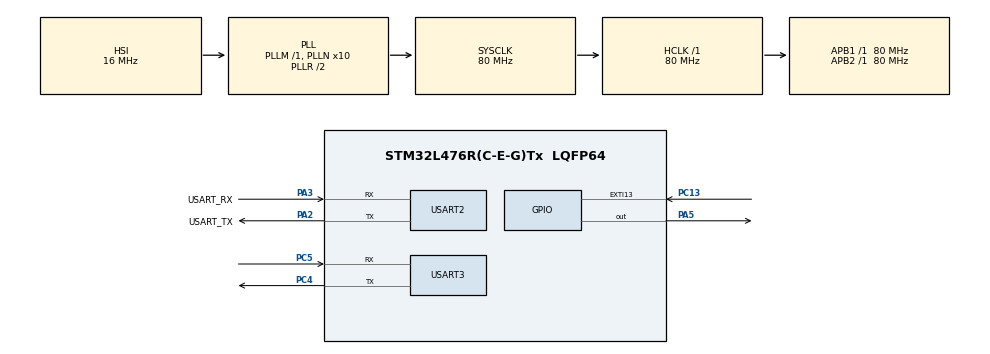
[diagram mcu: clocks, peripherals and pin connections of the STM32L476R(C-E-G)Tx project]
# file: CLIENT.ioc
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Dma.Request0=USART3_RX
Dma.Request1=USART3_TX
Dma.Request2=USART2_RX
Dma.Request3=USART2_TX
Dma.USART2_RX.2.Direction=DMA_PERIPH_TO_MEMORY
Dma.USART2_RX.2.Instance=DMA1_Channel6
Dma.USART2_RX.2.MemDataAlignment=DMA_MDATAALIGN_BYTE
Dma.USART2_RX.2.MemInc=DMA_MINC_ENABLE
Dma.USART2_RX.2.Mode=DMA_NORMAL
Dma.USART2_RX.2.PeriphDataAlignment=DMA_PDATAALIGN_BYTE
Dma.USART2_RX.2.PeriphInc=DMA_PINC_DISABLE
Dma.USART2_RX.2.Priority=DMA_PRIORITY_LOW
Dma.USART2_TX.3.Direction=DMA_MEMORY_TO_PERIPH
Dma.USART2_TX.3.Instance=DMA1_Channel7
Dma.USART2_TX.3.MemDataAlignment=DMA_MDATAALIGN_BYTE
Dma.USART2_TX.3.MemInc=DMA_MINC_ENABLE
Dma.USART2_TX.3.Mode=DMA_NORMAL
Dma.USART2_TX.3.PeriphDataAlignment=DMA_PDATAALIGN_BYTE
Dma.USART2_TX.3.PeriphInc=DMA_PINC_DISABLE
Dma.USART2_TX.3.Priority=DMA_PRIORITY_LOW
Dma.USART3_RX.0.Direction=DMA_PERIPH_TO_MEMORY
Dma.USART3_RX.0.Instance=DMA1_Channel3
Dma.USART3_RX.0.MemDataAlignment=DMA_MDATAALIGN_BYTE
Dma.USART3_RX.0.MemInc=DMA_MINC_ENABLE
Dma.USART3_RX.0.Mode=DMA_NORMAL
Dma.USART3_RX.0.PeriphDataAlignment=DMA_PDATAALIGN_BYTE
Dma.USART3_RX.0.PeriphInc=DMA_PINC_DISABLE
Dma.USART3_RX.0.Priority=DMA_PRIORITY_LOW
Dma.USART3_TX.1.Direction=DMA_MEMORY_TO_PERIPH
Dma.USART3_TX.1.Instance=DMA1_Channel2
Dma.USART3_TX.1.MemDataAlignment=DMA_MDATAALIGN_BYTE
Dma.USART3_TX.1.MemInc=DMA_MINC_ENABLE
Dma.USART3_TX.1.Mode=DMA_NORMAL
Dma.USART3_TX.1.PeriphDataAlignment=DMA_PDATAALIGN_BYTE
Dma.USART3_TX.1.PeriphInc=DMA_PINC_DISABLE
Dma.USART3_TX.1.Priority=DMA_PRIORITY_LOW
Mcu.Family=STM32L4
Mcu.Name=STM32L476R(C-E-G)Tx
Mcu.Package=LQFP64
NUCLEO-L476RG.BUTTON=1
NUCLEO-L476RG.LD2=true
NVIC.DMA1_Channel2_IRQn=true\:0\:0\:false\:false\:true\:false\:true\:true
NVIC.DMA1_Channel3_IRQn=true\:0\:0\:false\:false\:true\:false\:true\:true
NVIC.DMA1_Channel6_IRQn=true\:0\:0\:false\:false\:true\:false\:true\:true
NVIC.DMA1_Channel7_IRQn=true\:0\:0\:false\:false\:true\:false\:true\:true
NVIC.EXTI15_10_IRQn=true\:0\:0\:false\:false\:true\:false\:true\:true
NVIC.PriorityGroup=NVIC_PRIORITYGROUP_4
NVIC.USART2_IRQn=true\:0\:0\:false\:false\:true\:true\:true\:true
NVIC.USART3_IRQn=true\:0\:0\:false\:false\:true\:true\:true\:true
PA13\ (JTMS-SWDIO).GPIO_Label=TMS
PA13\ (JTMS-SWDIO).Signal=SYS_JTMS-SWDIO
PA14\ (JTCK-SWCLK).GPIO_Label=TCK
PA14\ (JTCK-SWCLK).Signal=SYS_JTCK-SWCLK
PA2.GPIO_Label=USART_TX
PA2.GPIO_Mode=GPIO_MODE_AF_PP
PA2.GPIO_PuPd=GPIO_NOPULL
PA2.GPIO_Speed=GPIO_SPEED_FREQ_VERY_HIGH
PA2.Mode=Asynchronous
PA2.Signal=USART2_TX
PA3.GPIO_Label=USART_RX
PA3.GPIO_Mode=GPIO_MODE_AF_PP
PA3.GPIO_PuPd=GPIO_NOPULL
PA3.GPIO_Speed=GPIO_SPEED_FREQ_VERY_HIGH
PA3.Mode=Asynchronous
PA3.Signal=USART2_RX
PA5.Signal=GPIO_Output
PB3\ (JTDO-TRACESWO).GPIO_Label=SWO
PB3\ (JTDO-TRACESWO).Signal=SYS_JTDO-SWO
PC13.Signal=GPXTI13
PC14-OSC32_IN\ (PC14).Signal=RCC_OSC32_IN
PC15-OSC32_OUT\ (PC15).Signal=RCC_OSC32_OUT
PC4.Mode=Asynchronous
PC4.Signal=USART3_TX
PC5.Mode=Asynchronous
PC5.Signal=USART3_RX
PH0-OSC_IN\ (PH0).Signal=RCC_OSC_IN
PH1-OSC_OUT\ (PH1).Signal=RCC_OSC_OUT
ProjectManager.HeapSize=0x200
ProjectManager.StackSize=0x400
ProjectManager.TargetToolchain=STM32CubeIDE
RCC.ADCFreq_Value=64000000
RCC.AHBFreq_Value=80000000
RCC.APB1Freq_Value=80000000
RCC.APB1TimFreq_Value=80000000
RCC.APB2Freq_Value=80000000
RCC.APB2TimFreq_Value=80000000
RCC.CortexFreq_Value=80000000
RCC.HCLKFreq_Value=80000000
RCC.HSE_VALUE=8000000
RCC.HSI_VALUE=16000000
RCC.LSE_VALUE=32768
RCC.MSI_VALUE=4000000
RCC.PLLN=10
RCC.PLLSourceVirtual=RCC_PLLSOURCE_HSI
RCC.PREFETCH_ENABLE=1
RCC.SYSCLKFreq_VALUE=80000000
RCC.SYSCLKSource=RCC_SYSCLKSOURCE_PLLCLK
RCC.USBFreq_Value=64000000
RCC.VCOOutputFreq_Value=160000000
USART2.VirtualMode-Asynchronous=VM_ASYNC
USART3.VirtualMode-Asynchronous=VM_ASYNC
VP_NUCLEO-L476RG_VS_BSP_COMMON.Mode=COMMON
board=NUCLEO-L476RG

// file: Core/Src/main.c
/* USER CODE BEGIN Header */
/**
  ******************************************************************************
  * @file           : main.c
  * @brief          : Main program body
  ******************************************************************************
  * @attention
  *
  * Copyright (c) 2026 STMicroelectronics.
  * All rights reserved.
  *
  * This software is licensed under terms that can be found in the LICENSE file
  * in the root directory of this software component.
  * If no LICENSE file comes with this software, it is provided AS-IS.
  *
  ******************************************************************************
  */
/* USER CODE END Header */
#include "main.h"
#include <stdio.h>

UART_HandleTypeDef huart2;
UART_HandleTypeDef huart3;
DMA_HandleTypeDef hdma_usart2_rx;
DMA_HandleTypeDef hdma_usart2_tx;
DMA_HandleTypeDef hdma_usart3_rx;
DMA_HandleTypeDef hdma_usart3_tx;

void SystemClock_Config(void);
static void MX_GPIO_Init(void);
static void MX_DMA_Init(void);
static void MX_USART3_UART_Init(void);
static void MX_USART2_UART_Init(void);

/* USER CODE BEGIN 0 */

uint8_t value = 0x5A;
uint8_t counter = 0;
unsigned char table[10][50] = {};

volatile uint8_t button_pressed = 0;
volatile uint8_t reception_state = 0;
volatile uint8_t led_flicking = 0;

volatile uint32_t last_click = 0;

/* USER CODE END 0 */

int main(void)
{

  /* MCU Configuration--------------------------------------------------------*/

  /* Reset of all peripherals, Initializes the Flash interface and the Systick. */
  HAL_Init();

  /* Configure the system clock */
  SystemClock_Config();

  /* Initialize all configured peripherals */
  MX_GPIO_Init();
  MX_DMA_Init();
  MX_USART3_UART_Init();
  MX_USART2_UART_Init();
  /* USER CODE BEGIN 2 */
  HAL_UART_Receive_IT(&huart3, &counter, 1);
  /* USER CODE END 2 */

  /* Initialize leds */
  BSP_LED_Init(LED_GREEN);

  /* Initialize USER push-button, will be used to trigger an interrupt each time it's pressed.*/
  BSP_PB_Init(BUTTON_USER, BUTTON_MODE_EXTI);

  /* Infinite loop */
  /* USER CODE BEGIN WHILE */

  while (1)
  {
	  if (button_pressed == 1){
		  button_pressed = 0;
		  HAL_UART_Transmit_IT(&huart3, &value, 1);
	  }

	  if (led_flicking == 1){

		  for (int i = 0; i < counter; i ++){
			  HAL_GPIO_WritePin(GPIOA, GPIO_PIN_5, GPIO_PIN_SET);
			  HAL_Delay(500);

			  HAL_GPIO_WritePin(GPIOA, GPIO_PIN_5, GPIO_PIN_RESET);
			  HAL_Delay(500);
		  }

		  led_flicking = 0;

		  char buffer[150];
		  int len;

		  len = sprintf(buffer, "Número de eventos:  %03d\r\n", counter);
		  HAL_UART_Transmit(&huart2, (uint8_t*)buffer, len, 100);

		  for (int i = 0; i < 10; i++){
			  len = sprintf(buffer, " > %s\r\n", table[i]);
			  HAL_UART_Transmit(&huart2, (uint8_t*)buffer, len, 100);
		  }
	  }

    /* USER CODE END WHILE */

  }
}

void SystemClock_Config(void)
{
  RCC_OscInitTypeDef RCC_OscInitStruct = {0};
  RCC_ClkInitTypeDef RCC_ClkInitStruct = {0};

  /** Configure the main internal regulator output voltage
  */
  if (HAL_PWREx_ControlVoltageScaling(PWR_REGULATOR_VOLTAGE_SCALE1) != HAL_OK)
  {
    Error_Handler();
  }

  /** Initializes the RCC Oscillators according to the specified parameters
  * in the RCC_OscInitTypeDef structure.
  */
  RCC_OscInitStruct.OscillatorType = RCC_OSCILLATORTYPE_HSI;
  RCC_OscInitStruct.HSIState = RCC_HSI_ON;
  RCC_OscInitStruct.HSICalibrationValue = RCC_HSICALIBRATION_DEFAULT;
  RCC_OscInitStruct.PLL.PLLState = RCC_PLL_ON;
  RCC_OscInitStruct.PLL.PLLSource = RCC_PLLSOURCE_HSI;
  RCC_OscInitStruct.PLL.PLLM = 1;
  RCC_OscInitStruct.PLL.PLLN = 10;
  RCC_OscInitStruct.PLL.PLLP = RCC_PLLP_DIV7;
  RCC_OscInitStruct.PLL.PLLQ = RCC_PLLQ_DIV2;
  RCC_OscInitStruct.PLL.PLLR = RCC_PLLR_DIV2;
  if (HAL_RCC_OscConfig(&RCC_OscInitStruct) != HAL_OK)
  {
    Error_Handler();
  }

  /** Initializes the CPU, AHB and APB buses clocks
  */
  RCC_ClkInitStruct.ClockType = RCC_CLOCKTYPE_HCLK|RCC_CLOCKTYPE_SYSCLK
                              |RCC_CLOCKTYPE_PCLK1|RCC_CLOCKTYPE_PCLK2;
  RCC_ClkInitStruct.SYSCLKSource = RCC_SYSCLKSOURCE_PLLCLK;
  RCC_ClkInitStruct.AHBCLKDivider = RCC_SYSCLK_DIV1;
  RCC_ClkInitStruct.APB1CLKDivider = RCC_HCLK_DIV1;
  RCC_ClkInitStruct.APB2CLKDivider = RCC_HCLK_DIV1;

  if (HAL_RCC_ClockConfig(&RCC_ClkInitStruct, FLASH_LATENCY_4) != HAL_OK)
  {
    Error_Handler();
  }
}

static void MX_USART2_UART_Init(void)
{

  huart2.Instance = USART2;
  huart2.Init.BaudRate = 115200;
  huart2.Init.WordLength = UART_WORDLENGTH_8B;
  huart2.Init.StopBits = UART_STOPBITS_1;
  huart2.Init.Parity = UART_PARITY_NONE;
  huart2.Init.Mode = UART_MODE_TX_RX;
  huart2.Init.HwFlowCtl = UART_HWCONTROL_NONE;
  huart2.Init.OverSampling = UART_OVERSAMPLING_16;
  huart2.Init.OneBitSampling = UART_ONE_BIT_SAMPLE_DISABLE;
  huart2.AdvancedInit.AdvFeatureInit = UART_ADVFEATURE_NO_INIT;
  if (HAL_UART_Init(&huart2) != HAL_OK)
  {
    Error_Handler();
  }

}

static void MX_USART3_UART_Init(void)
{

  huart3.Instance = USART3;
  huart3.Init.BaudRate = 115200;
  huart3.Init.WordLength = UART_WORDLENGTH_8B;
  huart3.Init.StopBits = UART_STOPBITS_1;
  huart3.Init.Parity = UART_PARITY_NONE;
  huart3.Init.Mode = UART_MODE_TX_RX;
  huart3.Init.HwFlowCtl = UART_HWCONTROL_NONE;
  huart3.Init.OverSampling = UART_OVERSAMPLING_16;
  huart3.Init.OneBitSampling = UART_ONE_BIT_SAMPLE_DISABLE;
  huart3.AdvancedInit.AdvFeatureInit = UART_ADVFEATURE_NO_INIT;
  if (HAL_UART_Init(&huart3) != HAL_OK)
  {
    Error_Handler();
  }

}

static void MX_DMA_Init(void)
{

  /* DMA controller clock enable */
  __HAL_RCC_DMA1_CLK_ENABLE();

  /* DMA interrupt init */
  /* DMA1_Channel2_IRQn interrupt configuration */
  HAL_NVIC_SetPriority(DMA1_Channel2_IRQn, 0, 0);
  HAL_NVIC_EnableIRQ(DMA1_Channel2_IRQn);
  /* DMA1_Channel3_IRQn interrupt configuration */
  HAL_NVIC_SetPriority(DMA1_Channel3_IRQn, 0, 0);
  HAL_NVIC_EnableIRQ(DMA1_Channel3_IRQn);
  /* DMA1_Channel6_IRQn interrupt configuration */
  HAL_NVIC_SetPriority(DMA1_Channel6_IRQn, 0, 0);
  HAL_NVIC_EnableIRQ(DMA1_Channel6_IRQn);
  /* DMA1_Channel7_IRQn interrupt configuration */
  HAL_NVIC_SetPriority(DMA1_Channel7_IRQn, 0, 0);
  HAL_NVIC_EnableIRQ(DMA1_Channel7_IRQn);

}

static void MX_GPIO_Init(void)
{
  GPIO_InitTypeDef GPIO_InitStruct = {0};

  /* GPIO Ports Clock Enable */
  __HAL_RCC_GPIOC_CLK_ENABLE();
  __HAL_RCC_GPIOH_CLK_ENABLE();
  __HAL_RCC_GPIOA_CLK_ENABLE();
  __HAL_RCC_GPIOB_CLK_ENABLE();

  /*Configure GPIO pin Output Level */
  HAL_GPIO_WritePin(GPIOA, GPIO_PIN_5, GPIO_PIN_RESET);

  /*Configure GPIO pin : PC13 */
  GPIO_InitStruct.Pin = GPIO_PIN_13;
  GPIO_InitStruct.Mode = GPIO_MODE_IT_RISING;
  GPIO_InitStruct.Pull = GPIO_NOPULL;
  HAL_GPIO_Init(GPIOC, &GPIO_InitStruct);

  /*Configure GPIO pin : PA5 */
  GPIO_InitStruct.Pin = GPIO_PIN_5;
  GPIO_InitStruct.Mode = GPIO_MODE_OUTPUT_PP;
  GPIO_InitStruct.Pull = GPIO_NOPULL;
  GPIO_InitStruct.Speed = GPIO_SPEED_FREQ_LOW;
  HAL_GPIO_Init(GPIOA, &GPIO_InitStruct);

  /* EXTI interrupt init*/
  HAL_NVIC_SetPriority(EXTI15_10_IRQn, 0, 0);
  HAL_NVIC_EnableIRQ(EXTI15_10_IRQn);

}

/* USER CODE BEGIN 4 */

  void HAL_GPIO_EXTI_Callback(uint16_t GPIO_Pin) {
	  if (GPIO_Pin == GPIO_PIN_13 && led_flicking == 0) {

		  uint32_t curr_click = HAL_GetTick();
		  if ((curr_click - last_click) < 200) return;
		  last_click = curr_click;

		  button_pressed = 1;
	  } else {
		  __NOP();
	  }
  }

  void HAL_UART_RxCpltCallback(UART_HandleTypeDef *huart){

	  if (huart->Instance == USART3){

		  if (reception_state == 0){
			  reception_state = 1;
			  HAL_UART_Receive_DMA(&huart3, *table, 500);
		  } else if (reception_state == 1) {
			  reception_state = 0;
			  led_flicking = 1;
			  HAL_UART_Receive_IT(&huart3, &counter, 1);
		  }

	  }

  }

/* USER CODE END 4 */

void Error_Handler(void)
{
  __disable_irq();
  while (1)
  {
  }
}
